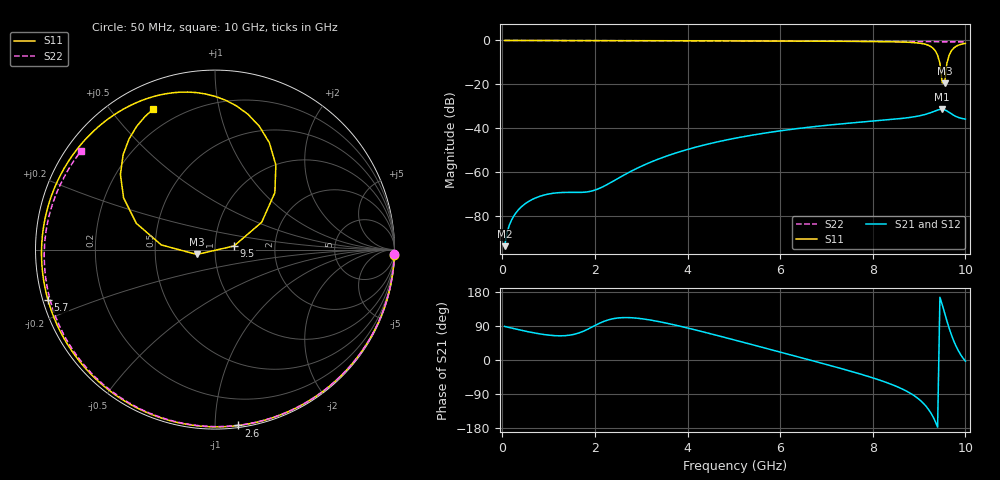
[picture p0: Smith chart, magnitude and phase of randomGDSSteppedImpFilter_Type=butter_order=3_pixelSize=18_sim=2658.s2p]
! freq	dB(S11)	phase(S11)	dB(S12)	phase(S12)
!  dB(S21)	phase(S21)	dB(S22)	phase(S22)
!S-par simulation data
#  GHz  S  DB  R 50
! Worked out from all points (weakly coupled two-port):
!   200 points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, 50 MHz to 10 GHz, reference 50 ohm
!   highest |S21| = -31.43 dB at 9.5 GHz (marker M1); lowest = -93.9 dB at 50 MHz (marker M2)
!   lowest |S11| = -19.6 dB at 9.55 GHz (marker M3), VSWR 1.23, Z = 40.7 - j2.24 ohm
!   |S11| at or under -10 dB: 9.444 GHz to 9.606 GHz (161.5 MHz wide, 1.7 % of centre)
!   |S22| runs from -0.7 to 0.0 dB; largest |S21 - S12| = 0
!   S11 on the Smith chart (normalised r, x): 50 MHz: 0, -68; 2.6 GHz: 0.01, -1.14; 5.7 GHz: 0.01, -0.15; 9.5 GHz: 1.24, +0.05; 10 GHz: 0.11, +0.65
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0.05  -0.00 -1.7  -93.90 88.7  -93.90 88.7  -0.00 -1.3
0.25  -0.01 -8.4  -80.06 82.9  -80.06 82.9  -0.01 -6.2
0.5  -0.02 -16.7  -74.44 76.1  -74.44 76.1  -0.02 -12.3
0.85  -0.04 -28.3  -70.87 68.1  -70.87 68.1  -0.03 -20.9
1.75  -0.07 -57.0  -69.30 75.9  -69.30 75.9  -0.05 -42.5
2.6  -0.10 -82.4  -61.76 111.8  -61.76 111.8  -0.08 -62.1
3.4  -0.13 -104.7  -53.91 100.9  -53.91 100.9  -0.10 -79.7
5.05  -0.21 -147.2  -44.53 51.7  -44.53 51.7  -0.17 -113.9
5.7  -0.25 -163.3  -42.18 30.6  -42.18 30.6  -0.21 -126.7
6.7  -0.32 171.6  -39.41 -2.0  -39.41 -2.0  -0.28 -146.1
7.55  -0.42 148.8  -37.64 -30.6  -37.64 -30.6  -0.35 -162.8
8.35  -0.58 123.7  -36.17 -61.8  -36.17 -61.8  -0.43 -179.0
9  -1.22 93.6  -34.43 -103.9  -34.43 -103.9  -0.52 167.0
9.15  -1.83 81.5  -33.66 -122.0  -33.66 -122.0  -0.54 163.7
9.3  -3.50 63.0  -32.57 -149.6  -32.57 -149.6  -0.56 160.3
9.45  -10.41 30.4  -31.50 165.5  -31.50 165.5  -0.59 156.9
9.5  -19.33 10.8  -31.43 145.8  -31.43 145.8  -0.60 155.7
9.55  -19.59 -165.0  -31.65 124.7  -31.65 124.7  -0.61 154.6
9.6  -10.44 175.0  -32.15 103.6  -32.15 103.6  -0.61 153.4
9.7  -4.66 150.6  -33.53 65.7  -33.53 65.7  -0.62 151.1
9.85  -2.15 127.8  -35.15 24.1  -35.15 24.1  -0.64 147.5
10  -1.35 113.6  -35.88 -3.1  -35.88 -3.1  -0.67 143.8
